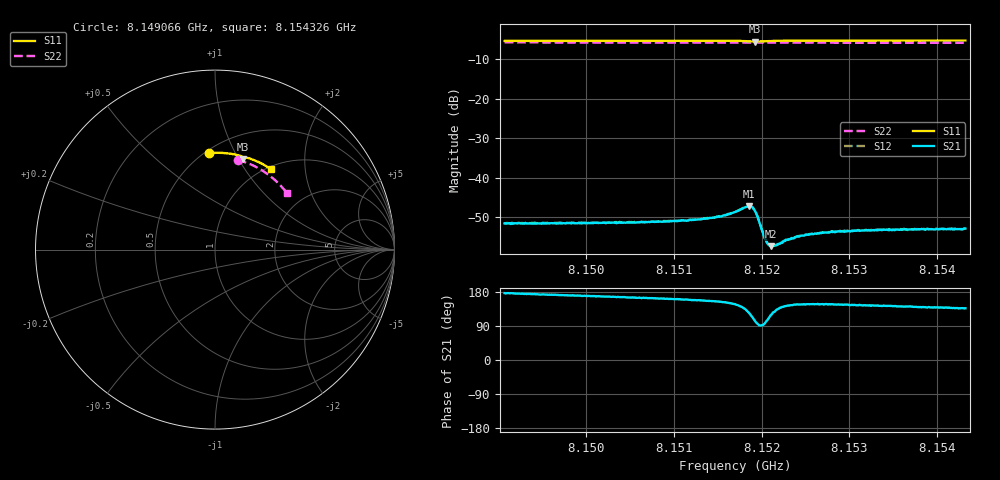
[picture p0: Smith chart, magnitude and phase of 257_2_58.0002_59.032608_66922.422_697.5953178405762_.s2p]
#  HZ  S  RI  R  50.00
! Rohde & Schwarz Vector Network Analyzer
! Rohde-Schwarz,ZNB20-2Port,1311601062101988,3.16
! Created: UTC 3/21/2024, 1:01:49 AM
! freq[Hz]  re:S11  im:S11  re:S21  im:S21  re:S12  im:S12  re:S22  im:S22
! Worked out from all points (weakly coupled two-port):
!   401 points, 8.149066 GHz to 8.154326 GHz, reference 50 ohm
!   highest |S21| = -47.20 dB at 8.151854 GHz (marker M1); lowest = -57.4 dB at 8.152104 GHz (marker M2)
!   lowest |S11| = -5.5 dB at 8.15192 GHz (marker M3), VSWR 3.24, Z = 37.3 + j52.3 ohm
!   |S11| at or under -10 dB: nowhere
!   |S22| runs from -5.9 to -5.7 dB; largest |S21 - S12| = 0.00013
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8.1490664e9  -0.0356 0.5372  -0.00263 0.000165  -0.00265 0.000218  0.1272 0.5
8.1499474e9  0.0261 0.539  -0.00259 0.000502  -0.00265 0.000543  0.1817 0.4819
8.1508285e9  0.0875 0.534  -0.00264 0.000862  -0.00264 0.000908  0.2334 0.458
8.151144e9  0.1096 0.5303  -0.00265 0.000989  -0.00269 0.00106  0.2511 0.448
8.1514465e9  0.1312 0.5256  -0.00282 0.0013  -0.00281 0.00134  0.2678 0.4377
8.151578e9  0.1409 0.5227  -0.00295 0.00156  -0.00294 0.00164  0.2748 0.4331
8.1516963e9  0.15 0.5188  -0.00308 0.00198  -0.00309 0.00207  0.2813 0.4288
8.1518541e9  0.1592 0.5082  -0.00251 0.00358  -0.00243 0.0036  0.2895 0.4227
8.1518936e9  0.1583 0.5054  -0.00166 0.00387  -0.00161 0.00394  0.2912 0.4211
8.1519199e9  0.1567 0.5049  -0.000946 0.00374  -0.000896 0.00378  0.2925 0.4204
8.1519593e9  0.1552 0.5066  -0.000226 0.00307  -0.000138 0.00306  0.2944 0.419
8.1520119e9  0.1569 0.5104  -8.1e-05 0.00205  -6.78e-05 0.00206  0.2971 0.4172
8.1520513e9  0.1603 0.5121  -0.000316 0.00155  -0.000279 0.00159  0.2991 0.4157
8.1520776e9  0.1626 0.5129  -0.000467 0.00134  -0.000453 0.00138  0.3005 0.4148
8.1521039e9  0.1649 0.5132  -0.000641 0.00119  -0.000603 0.00124  0.3019 0.4138
8.1521565e9  0.1696 0.5131  -0.000883 0.00108  -0.000873 0.00107  0.3048 0.4118
8.1522617e9  0.178 0.5117  -0.00125 0.000976  -0.00122 0.000991  0.3101 0.4077
8.1524195e9  0.1897 0.5086  -0.0015 0.000991  -0.00152 0.00101  0.318 0.4012
8.1525773e9  0.2006 0.5048  -0.00162 0.00105  -0.00162 0.0011  0.3258 0.3947
8.1528798e9  0.2209 0.4972  -0.00175 0.00115  -0.00174 0.00116  0.3402 0.3819
8.1534583e9  0.2576 0.4803  -0.00173 0.0013  -0.00176 0.00138  0.3661 0.3558
8.1543262e9  0.3096 0.4501  -0.00164 0.00156  -0.00163 0.00159  0.4015 0.3136
